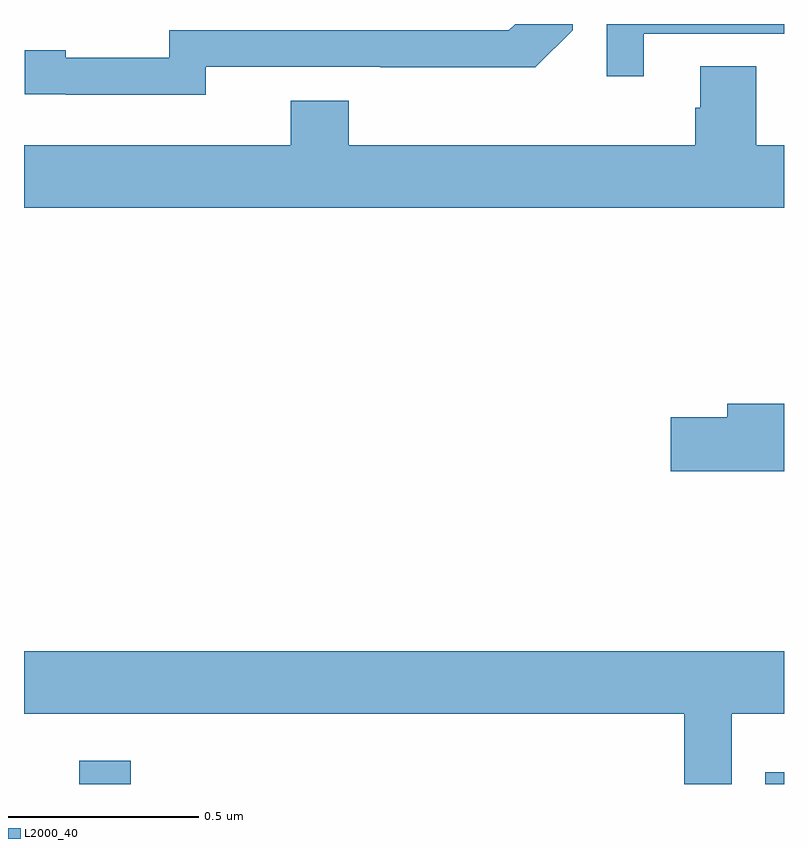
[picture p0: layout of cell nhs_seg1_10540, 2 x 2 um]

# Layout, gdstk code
import gdstk
lib = gdstk.Library(unit=1e-6, precision=1e-09)
def R(c, l, rs):  # rectangles x0, y0, x1, y1
    for r in rs: c.add(gdstk.rectangle(r[:2], r[2:], *l))
def P(c, l, *ps):  # polygons
    for p in ps: c.add(gdstk.Polygon(p, *l))
L2000_40 = (2000, 40)

nhs_seg1_10540 = lib.new_cell('nhs_seg1_10540')
R(nhs_seg1_10540, L2000_40, [(242.146,566.199,242.281,566.26), (243.95,566.199,244,566.23)])
P(nhs_seg1_10540, L2000_40, [(243.631,568.173),(244,568.173),(244,568.199),(243.534,568.199),(243.534,568.062),(243.631,568.062)],
  [(242.478,568.086),(242.938,568.086),(242.938,568.085),(243.346,568.085),(243.444,568.182),(243.444,568.199),(243.293,568.199),(243.276,568.182),(242.382,568.182),(242.382,568.11),(242.11,568.11),(242.11,568.13),(242.002,568.13),(242.002,568.014),(242.11,568.014),(242.11,568.013),(242.478,568.013)],
  [(244,567.88),(243.927,567.88),(243.927,568.088),(243.779,568.088),(243.779,567.978),(243.767,567.978),(243.767,567.88),(242.855,567.88),(242.855,567.997),(242.702,567.997),(242.702,567.88),(242,567.88),(242,567.716),(244,567.716)],
  [(244,567.2),(243.851,567.2),(243.851,567.164),(243.702,567.164),(243.702,567.022),(244,567.022)],
  [(243.862,566.384),(244,566.384),(244,566.548),(242,566.548),(242,566.384),(243.737,566.384),(243.737,566.199),(243.862,566.199)])

lib.write_gds('nhs_seg1_10540.gds')
